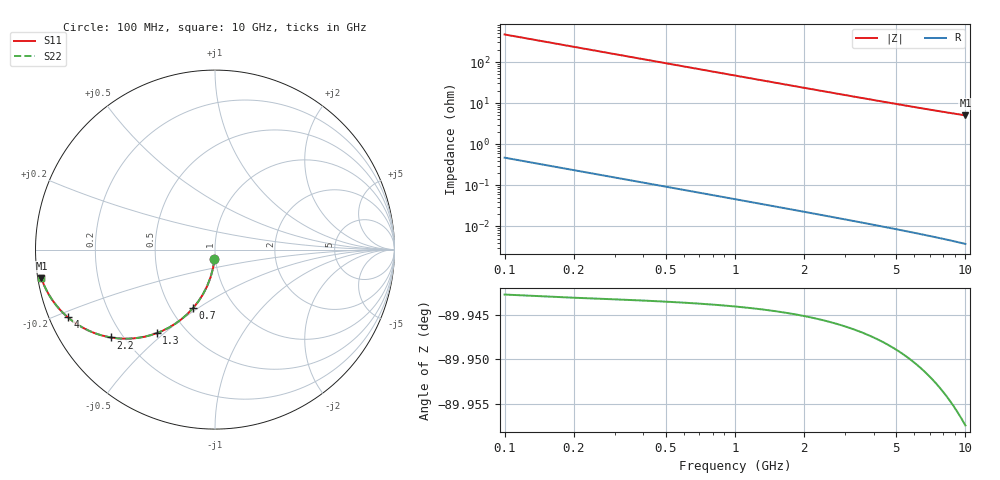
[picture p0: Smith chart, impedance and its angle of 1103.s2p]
# Hz S RI R 50.00
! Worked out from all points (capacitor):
!   100 points, 100 MHz to 10 GHz, reference 50 ohm
!   read as one part in shunt: C = 3.4 pF near 100 MHz
!   lowest |Z| = 5.02 ohm at 10 GHz (marker M1)
!   S11 on the Smith chart (normalised r, x): 100 MHz: 0.99, -0.11; 700 MHz: 0.64, -0.48; 1.3 GHz: 0.34, -0.47; 2.2 GHz: 0.16, -0.36; 4 GHz: 0.05, -0.22; 10 GHz: 0.01, -0.08
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1e8  -0.00285 -0.0531  0.9971 -0.0534  0.9971 -0.0534  -0.00285 -0.0531
2e8  -0.0113 -0.1053  0.9886 -0.1059  0.9886 -0.1059  -0.0113 -0.1053
3e8  -0.0251 -0.1557  0.9748 -0.1567  0.9748 -0.1567  -0.0251 -0.1557
4e8  -0.0438 -0.2036  0.9561 -0.2049  0.9561 -0.2049  -0.0438 -0.2036
5e8  -0.0667 -0.2484  0.9332 -0.25  0.9332 -0.25  -0.0667 -0.2484
6e8  -0.0933 -0.2895  0.9066 -0.2914  0.9066 -0.2914  -0.0933 -0.2895
7e8  -0.1228 -0.3267  0.8771 -0.3289  0.8771 -0.3289  -0.1228 -0.3267
8e8  -0.1546 -0.3598  0.8453 -0.3623  0.8453 -0.3623  -0.1546 -0.3598
1e9  -0.2221 -0.4136  0.7778 -0.4168  0.7778 -0.4168  -0.2221 -0.4136
1.3e9  -0.3253 -0.4659  0.6746 -0.4701  0.6746 -0.4701  -0.3253 -0.4659
1.5e9  -0.3909 -0.485  0.609 -0.4899  0.609 -0.4899  -0.3909 -0.485
1.8e9  -0.4802 -0.4962  0.5197 -0.502  0.5197 -0.502  -0.4802 -0.4962
2.2e9  -0.5797 -0.4895  0.4202 -0.4967  0.4202 -0.4967  -0.5797 -0.4895
2.5e9  -0.6404 -0.4753  0.3595 -0.4834  0.3595 -0.4834  -0.6404 -0.4753
2.8e9  -0.6908 -0.4571  0.3091 -0.4662  0.3091 -0.4662  -0.6908 -0.4571
3.4e9  -0.7671 -0.4165  0.2327 -0.4277  0.2327 -0.4277  -0.7671 -0.4165
4e9  -0.8202 -0.3769  0.1796 -0.39  0.1796 -0.39  -0.8202 -0.3769
4.5e9  -0.8524 -0.3466  0.1474 -0.3615  0.1474 -0.3615  -0.8524 -0.3466
5.1e9  -0.8814 -0.3143  0.1184 -0.3311  0.1184 -0.3311  -0.8814 -0.3143
6.7e9  -0.928 -0.2465  0.0717 -0.2689  0.0717 -0.2689  -0.928 -0.2465
8.4e9  -0.9533 -0.1957  0.0462 -0.2242  0.0462 -0.2242  -0.9533 -0.1957
1e10  -0.9668 -0.1603  0.0325 -0.1948  0.0325 -0.1948  -0.9668 -0.1603
